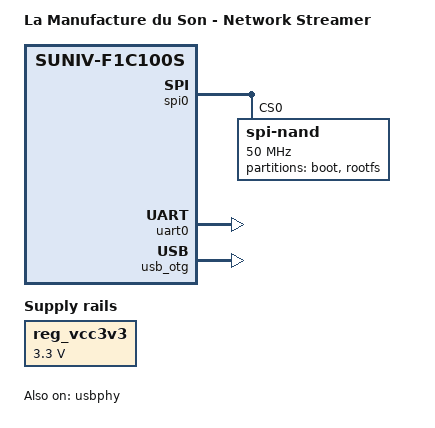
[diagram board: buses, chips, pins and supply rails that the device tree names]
// SPDX-License-Identifier: (GPL-2.0+ OR X11)
/*
 * Copyright 2018 Icenowy Zheng <icenowy@aosc.io>
 */

/dts-v1/;
#include "suniv-f1c100s.dtsi"

#include <dt-bindings/gpio/gpio.h>

/ {
	model = "La Manufacture du Son - Network Streamer";
	compatible = "licheepi,licheepi-nano", "allwinner,suniv-f1c100s";

	aliases {
		serial0 = &uart0;
		spi0 = &spi0;
	};

	chosen {
		stdout-path = "serial0:115200n8";
	};

	reg_vcc3v3: vcc3v3 {
		compatible = "regulator-fixed";
		regulator-name = "vcc3v3";
		regulator-min-microvolt = <3300000>;
		regulator-max-microvolt = <3300000>;
	};
};



&spi0 {
	pinctrl-names = "default";
	pinctrl-0 = <&spi0_pc_pins>;
	status = "okay";

	spi-nand@0 {
		#address-cells = <1>;
		#size-cells = <1>;
		compatible = "spi-nand";
		reg = <0>;
		spi-max-frequency = <50000000>;
		partitions {
			compatible = "fixed-partitions";
			#address-cells = <1>;
			#size-cells = <1>;

			partition@0 {
				label = "boot";
				reg = <0 0x100000>;
			};

			partition@100000 {
				label = "rootfs";
				reg = <0x100000 0x7F00000>;
			};
		};
	};
};

&otg_sram {
	status = "okay";
};

&uart0 {
	pinctrl-names = "default";
	pinctrl-0 = <&uart0_pe_pins>;
	status = "okay";
};

&usb_otg {
	status = "okay";
};

&usbphy {
	status = "okay";
};
